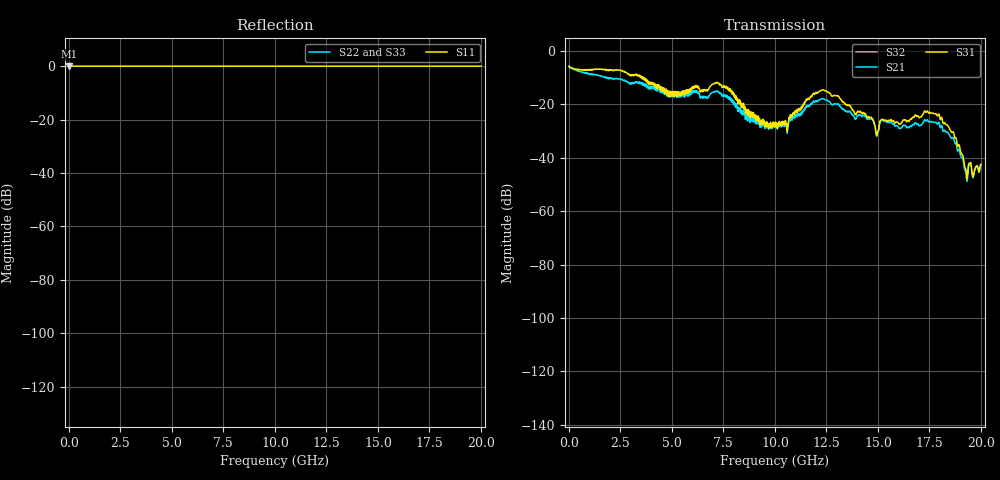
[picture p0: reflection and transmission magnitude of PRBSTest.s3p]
! File created by SignalIntegrity v1.4.3: Signal and Power Integrity Tools
! https://github.com/Nubis-Communications/SignalIntegrity
# MHz S MA R 50.0
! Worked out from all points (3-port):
!   2000 points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, 10 MHz to 20 GHz, reference 50 ohm
!   strongest paths, dB at 10 MHz, 5.01 GHz, 10.01 GHz, 15.01 GHz, 20 GHz:
!     S31: -5.7, -16.2, -28.1, -30.1, -42.5
!     S21: -5.9, -16.4, -28.3, -30.3, -42.7
!     S32: -, -, -, -, -
!   lowest |S11| = 0.0 dB at 10 MHz (marker M1)
!   |S11| at or under -10 dB: nowhere
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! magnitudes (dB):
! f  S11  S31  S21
! 10 MHz  0.0  -5.7  -5.9
! 4.91 GHz  0.0  -15.1  -15.3
! 7.2 GHz  0.0  -11.9  -15.1
! 10.01 GHz  0.0  -28.1  -28.3
! 12.37 GHz  0.0  -14.7  -18.0
! 14.96 GHz  0.0  -31.2  -31.5
! 17.89 GHz  0.0  -24.3  -27.5
! 18.72 GHz  0.0  -32.2  -34.3
! 19.28 GHz  0.0  -44.7  -45.6
! 20 GHz  0.0  -42.5  -42.7
